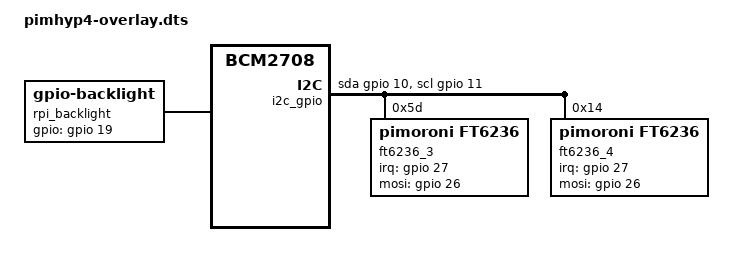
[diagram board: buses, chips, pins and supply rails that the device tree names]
/*
 * Device tree overlay for Goodix ft6236 Touchscreen & Pimoroni Hyperpixel4 LCD
 * V2
 *
 * Compile:
 * dtc -@ -I dts -O dtb -o cypress.dtbo cypress.dts
 */

#include <dt-bindings/gpio/gpio.h>

/dts-v1/;
/plugin/;
/ {
    /* Identify the RPi models this is compatible with (is this sufficient?) */
    compatible = "brcm,bcm2708";

    fragment@0 {
        target = <&leds>;
        __overlay__ {
            pinctrl-names = "default";
            pinctrl-0 = <&dpi18_pins>;
        };
    };

    /* Define a group of pins to be configured by the GPIO driver as function 6 = ALT2 = DPI mode */
    fragment@1 {
        target = <&gpio>;
        __overlay__ {
            dpi18_pins: dpi18_pins {
                brcm,pins = <0x0 0x1 0x2 0x3 0x4 0x5 0x6 0x7 0x8 0x9    0xc 0xd 0xe 0xf 0x10 0x11     0x14 0x15 0x16 0x17 0x18 0x19>;
                brcm,function = <0x6>;
                brcm,pull = <0x0>;
            };
        };
    };

    /* Define a GPIO Bitbanged I2C interface on pins 10 & 11 */
    fragment@2 {
        target-path = "/";
        __overlay__ {
            i2c_gpio: i2c@0 {
                #address-cells = <1>;
                #size-cells = <0>;
                compatible = "i2c-gpio";
                gpios = <&gpio 10 (GPIO_ACTIVE_HIGH|GPIO_OPEN_DRAIN) /* sda */ 
                         &gpio 11 (GPIO_ACTIVE_HIGH|GPIO_OPEN_DRAIN) /* scl */
                        >;
                i2c-gpio,delay-us = <4>;        /* ~100 kHz */
            };
        };
    };

    /* Define the Touch Interface chip on the i2c interface */
    fragment@3 {
        target = <&i2c_gpio>;
        __overlay__ {
            /* needed to avoid dtc warning */
            #address-cells = <1>;
            #size-cells = <0>;
            ft6236_3: ft6236@5d {
                compatible = "pimoroni,ft6236";
                reg = <0x5d>;
                interrupt-parent = <&gpio>;
                interrupts = <27 2>;
                irq-gpios  = <&gpio 27 0>; // specify  GPIO27 as the irq line from the TS controller, CLK from LCD
            };
        };
    };

    /* Define the additional bitbanged SPI pins for the LCD */
    fragment@4 {
        target = <&ft6236_3>;
        __overlay__ {
                mosi-gpios = <&gpio 26 0>; // specify  GPIO26 as the mosi line from the LCD controller
                cs-gpios   = <&gpio 18 0>; // specify  GPIO27 as the cs line from the LCD controller
        };
    };

    /* For check only instead of @4 */
    fragment@5 {
        target = <&ft6236_3>;
        __dormant__ {
                touchscreen-check;              //Indicate to driver that we are just checking presence.
        };
    };

    fragment@6 {
        target-path = "/";
        __overlay__ {
            rpi_backlight: rpi_backlight {
                compatible = "gpio-backlight";
                gpios = <&gpio 19 0>;
                default-on;
            };
        };
    };

    /* display_lcd_rotate=0 */
    /* Portrait, USB ports on top */
    fragment@7 {
        target = <&ft6236_3>;
        __overlay__ {
            touchscreen-inverted-x;
            touchscreen-size-x = <480>;
            touchscreen-size-y = <800>;
        };
    };

    /* display_lcd_rotate=1 */
    /* Landscape, USB ports on left */
    fragment@8 {
        target = <&ft6236_3>;
        __dormant__ {
            touchscreen-swapped-x-y;
            touchscreen-size-x = <480>;
            touchscreen-size-y = <800>;
        };
    };

    /* display_lcd_rotate=2 */
    /* Portrait, USB ports on bottom */
    fragment@9  {
        target = <&ft6236_3>;
        __dormant__ {
            touchscreen-inverted-y;
            touchscreen-size-x = <480>;
            touchscreen-size-y = <800>;
        };
    };

    /* display_lcd_rotate=3 */
    /* Landscape, USB ports on right */
    fragment@10 {
        target = <&ft6236_3>;
        __dormant__ {
            touchscreen-swapped-x-y;
            touchscreen-inverted-x;
            touchscreen-inverted-y;
            touchscreen-size-x = <480>;
            touchscreen-size-y = <800>;
        };
    };

//================================================================
    /* Define the Touch Interface chip on the i2c interface */
    fragment@11 {
        target = <&i2c_gpio>;
        __overlay__ {
            /* needed to avoid dtc warning */
            #address-cells = <1>;
            #size-cells = <0>;
            ft6236_4: ft6236@14 {
                compatible = "pimoroni,ft6236";
                reg = <0x14>;
                interrupt-parent = <&gpio>;
                interrupts = <27 2>;
                irq-gpios  = <&gpio 27 0>; // specify  GPIO27 as the irq line from the TS controller, CLK from LCD
            };
        };
    };

    /* Define the additional bitbanged SPI pins for the LCD */
    fragment@12 {
        target = <&ft6236_4>;
        __overlay__ {
                mosi-gpios = <&gpio 26 0>; // specify  GPIO26 as the mosi line from the LCD controller
                cs-gpios   = <&gpio 18 0>; // specify  GPIO27 as the cs line from the LCD controller
        };
    };

    /* For check only instead of @4 */
    fragment@13 {
        target = <&ft6236_4>;
        __dormant__ {
                touchscreen-check;              //Indicate to driver that we are just checking presence.
        };
    };

    /* display_lcd_rotate=0 */
    /* Portrait, USB ports on top */
    fragment@14 {
        target = <&ft6236_4>;
        __overlay__ {
            touchscreen-inverted-x;
            touchscreen-size-x = <480>;
            touchscreen-size-y = <800>;
        };
    };

    /* display_lcd_rotate=1 */
    /* Landscape, USB ports on left */
    fragment@15 {
        target = <&ft6236_4>;
        __dormant__ {
            touchscreen-swapped-x-y;
            touchscreen-size-x = <480>;
            touchscreen-size-y = <800>;
        };
    };

    /* display_lcd_rotate=2 */
    /* Portrait, USB ports on bottom */
    fragment@16  {
        target = <&ft6236_4>;
        __dormant__ {
            touchscreen-inverted-y;
            touchscreen-size-x = <480>;
            touchscreen-size-y = <800>;
        };
    };

    /* display_lcd_rotate=3 */
    /* Landscape, USB ports on right */
    fragment@17 {
        target = <&ft6236_4>;
        __dormant__ {
            touchscreen-swapped-x-y;
            touchscreen-inverted-x;
            touchscreen-inverted-y;
            touchscreen-size-x = <480>;
            touchscreen-size-y = <800>;
        };
    };


//================================================================
    __overrides__ {
        rotate =   <0>,"+7-8-9-10+14-15-16-17";
        rotate_0 = <0>,"+7-8-9-10+14-15-16-17";
        rotate_1 = <0>,"-7+8-9-10-14+15-16-17";
        rotate_2 = <0>,"-7-8+9-10-14-15+16-17";
        rotate_3 = <0>,"-7-8-9+10-14-15-16+17";
        checkonly= <0>,"-4+5+7-8-9-10 -12+13+14-15-16-17";
    };
};

